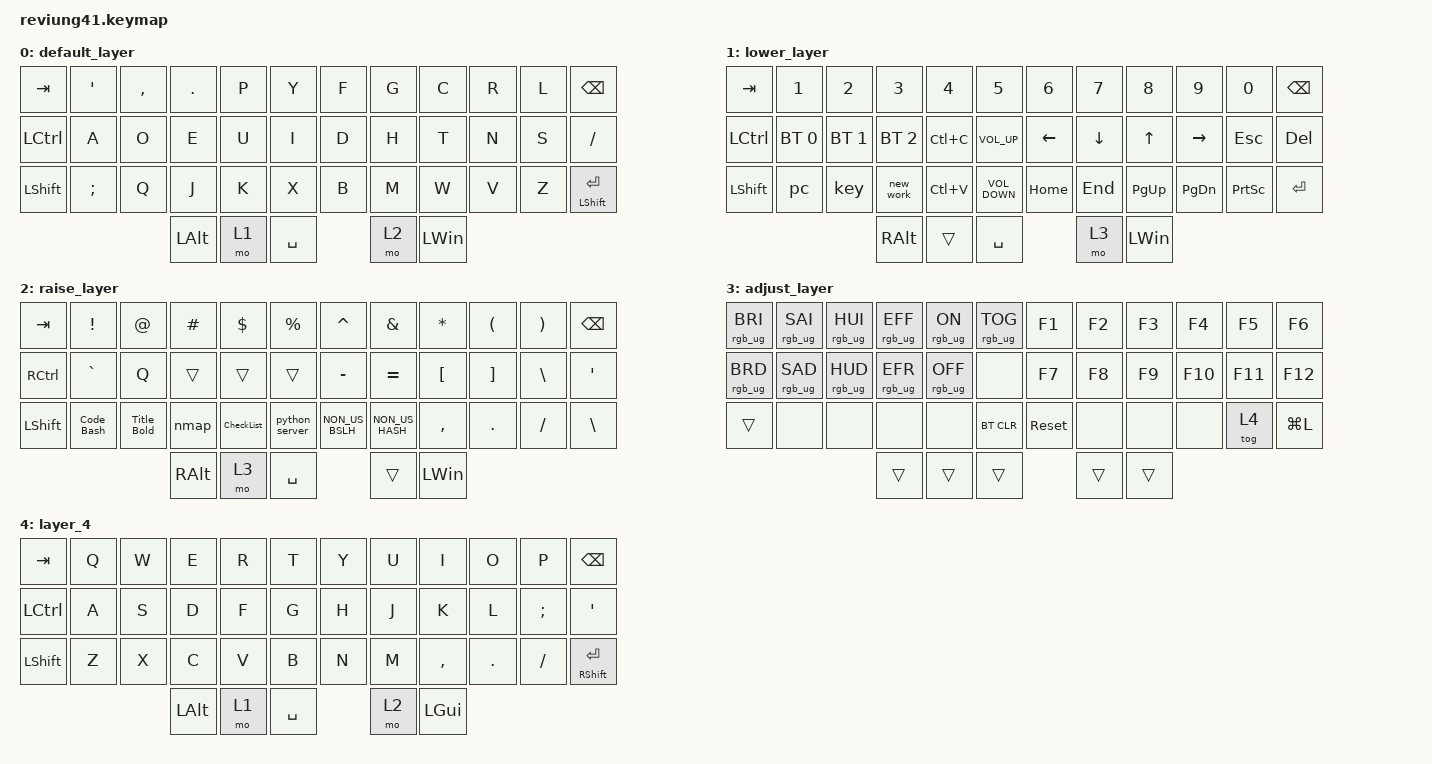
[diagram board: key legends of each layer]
/*
 * Copyright (c) 2020 The ZMK Contributors
 *
 * SPDX-License-Identifier: MIT
 */

#include <behaviors.dtsi>
#include <dt-bindings/zmk/bt.h>
#include <dt-bindings/zmk/keys.h>
#include <dt-bindings/zmk/rgb.h>

/ {
    macros {
        pc: pc {
            compatible = "zmk,behavior-macro";
            #binding-cells = <0>;
            bindings = <&none &kp N1 &kp N2 &kp N3 &kp N4 &kp N5 &kp N4 &kp N3 &kp N2 &kp N1>;
            label = "PC";
        };

        key: key {
            compatible = "zmk,behavior-macro";
            #binding-cells = <0>;
            bindings = <&none &kp LS(N) &kp N0 &kp V &kp I &kp N3 &kp M &kp B &kp R &kp N3 &kp RS(RIGHT_BRACKET) &kp N2 &kp N9>;
            label = "KEY";
        };

        new_work: new_work {
            compatible = "zmk,behavior-macro";
            #binding-cells = <0>;
            bindings = <&none &kp LS(V) &kp N7 &kp U &kp E &kp B &kp B &kp DLLR &kp LS(V) &kp LS(Q) &kp LS(M) &kp U &kp LS(U) &kp LS(B) &kp N9 &kp LS(X) &kp LS(Q)>;
            label = "NEW_WORK";
        };

        Title_Bold: Title_Bold {
            compatible = "zmk,behavior-macro";
            #binding-cells = <0>;
            bindings = <&none &kp POUND &kp POUND &kp POUND &kp SPACE &kp LS(RIGHT_BRACKET) &kp LS(RIGHT_BRACKET) &kp LS(T) &kp I &kp T &kp L &kp E &kp LS(RBKT) &kp LS(RBKT)>;
            label = "TITLE_BOLD";
        };

        Code_Bash: Code_Bash {
            compatible = "zmk,behavior-macro";
            #binding-cells = <0>;
            bindings = <&none &kp RA(NUHS) &kp RA(NUHS) &kp RA(NUHS) &kp RA(NUHS) &kp BACKSPACE &kp B &kp A &kp S &kp H &kp ENTER>;
            label = "CODE_BASH";
        };

        python_server: python_server {
            compatible = "zmk,behavior-macro";
            #binding-cells = <0>;
            bindings = <&none &kp P &kp Y &kp T &kp H &kp O &kp N &kp N3 &kp SPACE &kp FSLH &kp M &kp SPACE &kp H &kp T &kp T &kp P &kp DOT &kp S &kp E &kp R &kp V &kp E &kp R &kp SPACE &kp N8 &kp N0 &kp N8 &kp N0>;
            label = "PYTHON_SERVER";
        };

        nmap: nmap {
            compatible = "zmk,behavior-macro";
            #binding-cells = <0>;
            bindings = <&none &kp N &kp M &kp A &kp P &kp SPACE &kp FSLH &kp S &kp LS(C) &kp SPACE &kp FSLH &kp S &kp LS(V) &kp SPACE &kp FSLH &kp P &kp FSLH &kp SPACE &kp FSLH &kp O &kp LS(N) &kp SPACE &kp N &kp M &kp A &kp P &kp DOT &kp T &kp X &kp T &kp SPACE>;
            label = "NMAP";
        };

        CheckList: CheckList {
            compatible = "zmk,behavior-macro";
            #binding-cells = <0>;
            bindings = <&none &kp FSLH &kp SPACE &kp DQT &kp SPACE &kp PIPE>;
            label = "CHECKLIST";
        };
    };

    keymap {
        compatible = "zmk,keymap";

        default_layer {
            // -------------------------------------------------------------------------------------
            // |  TAB |  Q  |  W  |  E  |  R  |  T  |   |  Y  |  U   |  I  |  O  |  P  |   BSPC    |
            // | CTRL |  A  |  S  |  D  |  F  |  G  |   |  H  |  J   |  K  |  L  |  ;  |    '      |
            // | SHFT |  Z  |  X  |  C  |  V  |  B  |   |  N  |  M   |  ,  |  .  |  /  | SHFT(RET) |
            //                         | ALT | LWR | SPC | RSE  | ALT |

            bindings = <
&kp TAB    &kp APOS  &kp COMMA  &kp DOT   &kp P  &kp Y             &kp F  &kp G  &kp C         &kp R  &kp L  &kp BSPC
&kp LCTRL  &kp A     &kp O      &kp E     &kp U  &kp I             &kp D  &kp H  &kp T         &kp N  &kp S  &kp FSLH
&kp LSHFT  &kp SEMI  &kp Q      &kp J     &kp K  &kp X             &kp B  &kp M  &kp W         &kp V  &kp Z  &mt LEFT_SHIFT ENTER
                                &kp LALT  &mo 1         &kp SPACE         &mo 2  &kp LEFT_WIN
            >;
        };

        lower_layer {
            // ------------------------------------------------------------------------------------
            // |    |  !  |  @  |  #  |  $  |  %  |   |  ^  |  &  |  *  |  (  |  )  |      DEL    |
            // |    |  _  |  +  |  {  |  }  | "|" |   | LFT | DWN |  UP | RGT |  `  |       ~     |
            // |    | ESC | GUI | ALT | CAPS|  "  |   | HOME| END | PGUP| PGDN| PRSC| SHFT(SPACE) |
            //                       |     |     | RET | ADJ |     |

            bindings = <
&kp TAB           &kp NUMBER_1  &kp NUMBER_2  &kp NUMBER_3   &kp NUMBER_4  &kp N5                        &kp NUMBER_6  &kp N7    &kp N8        &kp N9     &kp N0      &kp BACKSPACE
&kp LEFT_CONTROL  &bt BT_SEL 0  &bt BT_SEL 1  &bt BT_SEL 2   &kp LC(C)     &kp C_VOLUME_UP               &kp LEFT      &kp DOWN  &kp UP        &kp RIGHT  &kp ESCAPE  &kp DELETE
&kp LEFT_SHIFT    &pc           &key          &new_work      &kp LC(V)     &kp C_VOLUME_DOWN             &kp HOME      &kp END   &kp PG_UP     &kp PG_DN  &kp PSCRN   &kp ENTER
                                              &kp RIGHT_ALT  &trans                           &kp SPACE                &mo 3     &kp LEFT_WIN
            >;
        };

        raise_layer {
            // ----------------------------------------------------------------------------
            // |    |  1  |  2  |  3  |  4  |  5  |   |  6  |  7  |  8  |  9  |  0  | DEL |
            // |    |  -  |  =  |  [  |  ]  |  \  |   | F1  | F2  | F3  | F4  | F5  | F6  |
            // |    | ESC | GUI | ALT | CAPS|  "  |   | F7  | F8  | F9  | F10 | F11 | F12 |
            //                       |     | ADJ | BSPC |    |     |

            bindings = <
&kp TAB         &kp EXCLAMATION  &kp AT       &kp HASH       &kp DOLLAR  &kp PERCENT                &kp CARET        &kp AMPERSAND    &kp ASTERISK  &kp LEFT_PARENTHESIS  &kp RIGHT_PARENTHESIS  &kp BACKSPACE
&kp RCTRL       &kp GRAVE        &kp Q        &trans         &trans      &trans                     &kp MINUS        &kp EQUAL        &kp LBKT      &kp RBKT              &kp BSLH               &kp SINGLE_QUOTE
&kp LEFT_SHIFT  &Code_Bash       &Title_Bold  &nmap          &CheckList  &python_server             &kp NON_US_BSLH  &kp NON_US_HASH  &kp COMMA     &kp DOT               &kp SLASH              &kp BACKSLASH
                                              &kp RIGHT_ALT  &mo 3                       &kp SPACE                   &trans           &kp LEFT_WIN
            >;
        };

        adjust_layer {
            // -----------------------------------------------------------------------------------------
            // | RGB BRI+ | RGB SAT+ | RGB HUE+ | RGB ANI+ |    | RGB TOG |   |  BT1  | BT2 | BT3 | BT4 | BT5 | BT CLR |
            // | RGB BRI- | RGB SAT- | RGB HUE- | RGB ANI- |    |         |   |       |     |     |     |     |        |
            // |          |          |          |          |    |         |   | RESET |     |     |     |     |        |
            //                                              |     |     |     |     |     |

            bindings = <
&rgb_ug RGB_BRI  &rgb_ug RGB_SAI  &rgb_ug RGB_HUI  &rgb_ug RGB_EFF  &rgb_ug RGB_ON   &rgb_ug RGB_TOG          &kp F1      &kp F2  &kp F3  &kp F4   &kp F5   &kp F6
&rgb_ug RGB_BRD  &rgb_ug RGB_SAD  &rgb_ug RGB_HUD  &rgb_ug RGB_EFR  &rgb_ug RGB_OFF  &none                    &kp F7      &kp F8  &kp F9  &kp F10  &kp F11  &kp F12
&trans           &none            &none            &none            &none            &bt BT_CLR               &sys_reset  &none   &none   &none    &tog 4   &kp LG(L)
                                                   &trans           &trans                            &trans              &trans  &trans
            >;
        };

        layer_4 {
            bindings = <
&kp TAB    &kp Q  &kp W  &kp E     &kp R  &kp T             &kp Y  &kp U  &kp I      &kp O    &kp P     &kp BSPC
&kp LCTRL  &kp A  &kp S  &kp D     &kp F  &kp G             &kp H  &kp J  &kp K      &kp L    &kp SEMI  &kp APOS
&kp LSHFT  &kp Z  &kp X  &kp C     &kp V  &kp B             &kp N  &kp M  &kp COMMA  &kp DOT  &kp FSLH  &mt RIGHT_SHIFT ENTER
                         &kp LALT  &mo 1         &kp SPACE         &mo 2  &kp LGUI
            >;
        };
    };
};
